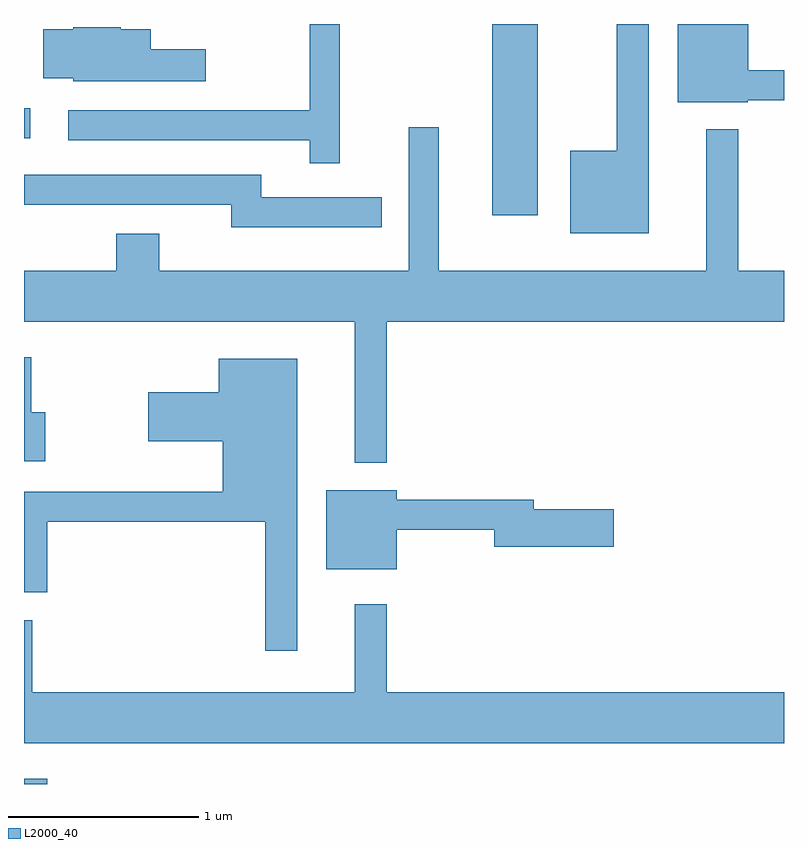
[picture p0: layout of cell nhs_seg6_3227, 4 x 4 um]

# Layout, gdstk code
import gdstk
lib = gdstk.Library(unit=1e-6, precision=1e-09)
def R(c, l, rs):  # rectangles x0, y0, x1, y1
    for r in rs: c.add(gdstk.rectangle(r[:2], r[2:], *l))
def P(c, l, *ps):  # polygons
    for p in ps: c.add(gdstk.Polygon(p, *l))
L2000_40 = (2000, 40)

nhs_seg6_3227 = lib.new_cell('nhs_seg6_3227')
R(nhs_seg6_3227, L2000_40, [(281.611,1654.162,281.734,1654.189), (284.076,1657.156,284.314,1658.162), (281.611,1657.561,281.643,1657.719)])
P(nhs_seg6_3227, L2000_40, [(285.42,1657.761),(285.611,1657.761),(285.611,1657.919),(285.424,1657.919),(285.424,1658.162),(285.051,1658.162),(285.051,1657.751),(285.42,1657.751)],
  [(284.899,1658.162),(284.731,1658.162),(284.731,1657.494),(284.486,1657.494),(284.486,1657.061),(284.899,1657.061)],
  [(283.274,1658.162),(283.116,1658.162),(283.116,1657.709),(281.843,1657.709),(281.843,1657.551),(283.116,1657.551),(283.116,1657.428),(283.274,1657.428)],
  [(282.568,1658.029),(282.279,1658.029),(282.279,1658.134),(282.12,1658.134),(282.12,1658.144),(281.87,1658.144),(281.87,1658.134),(281.711,1658.134),(281.711,1657.876),(281.87,1657.876),(281.87,1657.861),(282.568,1657.861)],
  [(283.519,1656.596),(285.611,1656.596),(285.611,1656.864),(285.369,1656.864),(285.369,1657.608),(285.201,1657.608),(285.201,1656.864),(283.794,1656.864),(283.794,1657.618),(283.636,1657.618),(283.636,1656.864),(282.324,1656.864),(282.324,1657.059),(282.096,1657.059),(282.096,1656.864),(281.611,1656.864),(281.611,1656.596),(283.351,1656.596),(283.351,1655.853),(283.519,1655.853)],
  [(283.493,1657.249),(282.859,1657.249),(282.859,1657.369),(281.611,1657.369),(281.611,1657.211),(282.701,1657.211),(282.701,1657.091),(283.493,1657.091)],
  [(281.724,1656.119),(281.649,1656.119),(281.649,1656.408),(281.611,1656.408),(281.611,1655.861),(281.724,1655.861)],
  [(283.049,1656.399),(282.636,1656.399),(282.636,1656.224),(282.266,1656.224),(282.266,1655.966),(282.656,1655.966),(282.656,1655.699),(281.611,1655.699),(281.611,1655.171),(281.734,1655.171),(281.734,1655.541),(282.881,1655.541),(282.881,1654.863),(283.049,1654.863)],
  [(283.574,1655.501),(284.086,1655.501),(284.086,1655.411),(284.714,1655.411),(284.714,1655.609),(284.294,1655.609),(284.294,1655.659),(283.574,1655.659),(283.574,1655.709),(283.201,1655.709),(283.201,1655.291),(283.574,1655.291)],
  [(285.611,1654.644),(283.519,1654.644),(283.519,1655.108),(283.351,1655.108),(283.351,1654.644),(281.654,1654.644),(281.654,1655.023),(281.611,1655.023),(281.611,1654.376),(285.611,1654.376)])

lib.write_gds('nhs_seg6_3227.gds')
